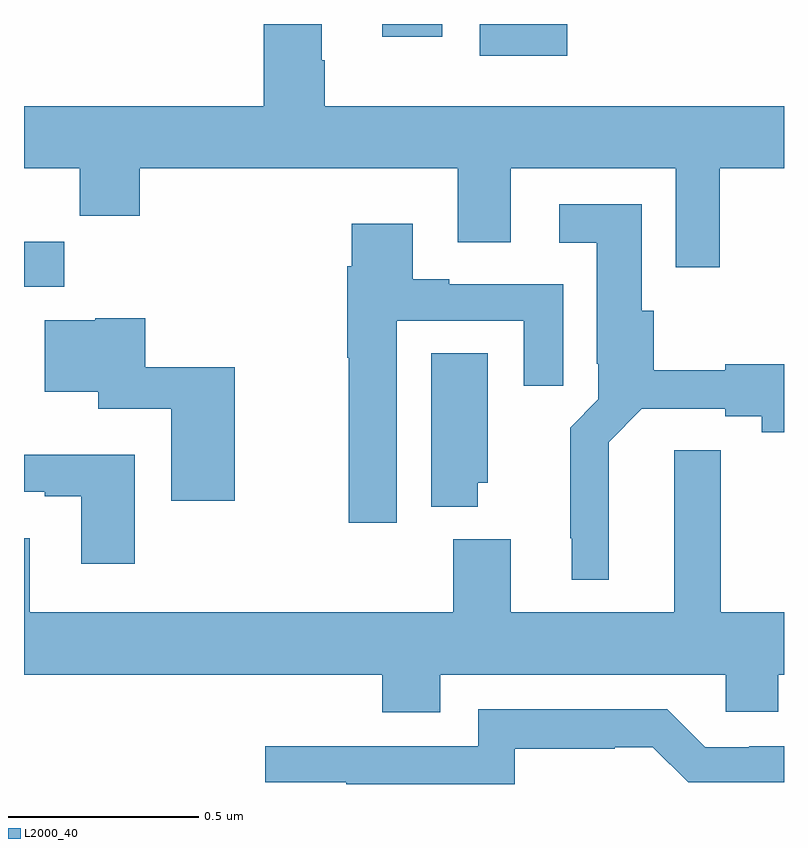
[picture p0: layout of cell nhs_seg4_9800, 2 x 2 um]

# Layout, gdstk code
import gdstk
lib = gdstk.Library(unit=1e-6, precision=1e-09)
def R(c, l, rs):  # rectangles x0, y0, x1, y1
    for r in rs: c.add(gdstk.rectangle(r[:2], r[2:], *l))
def P(c, l, *ps):  # polygons
    for p in ps: c.add(gdstk.Polygon(p, *l))
L2000_40 = (2000, 40)

nhs_seg4_9800 = lib.new_cell('nhs_seg4_9800')
R(nhs_seg4_9800, L2000_40, [(232,763.208,232.106,763.327), (233.199,763.817,233.429,763.9), (232.943,763.866,233.101,763.9)])
P(nhs_seg4_9800, L2000_40, [(233.831,763.52),(234,763.52),(234,763.684),(232.791,763.684),(232.791,763.805),(232.783,763.805),(232.783,763.9),(232.631,763.9),(232.631,763.684),(232,763.684),(232,763.52),(232.147,763.52),(232.147,763.396),(232.304,763.396),(232.304,763.52),(233.141,763.52),(233.141,763.326),(233.281,763.326),(233.281,763.52),(233.715,763.52),(233.715,763.26),(233.831,763.26)],
  [(233.539,762.8),(233.626,762.888),(233.846,762.888),(233.846,762.868),(233.942,762.868),(233.942,762.826),(234,762.826),(234,763.004),(233.846,763.004),(233.846,762.989),(233.657,762.989),(233.657,763.146),(233.626,763.146),(233.626,763.426),(233.409,763.426),(233.409,763.325),(233.507,763.325),(233.507,763.006),(233.511,763.006),(233.511,762.912),(233.437,762.838),(233.437,762.547),(233.441,762.547),(233.441,762.437),(233.539,762.437)],
  [(232.981,763.119),(233.315,763.119),(233.315,762.948),(233.419,762.948),(233.419,763.215),(233.119,763.215),(233.119,763.228),(233.023,763.228),(233.023,763.375),(232.862,763.375),(232.862,763.262),(232.85,763.262),(232.85,763.022),(232.855,763.022),(232.855,762.588),(232.981,762.588)],
  [(232.554,762.997),(232.319,762.997),(232.319,763.126),(232.188,763.126),(232.188,763.12),(232.055,763.12),(232.055,762.932),(232.196,762.932),(232.196,762.887),(232.388,762.887),(232.388,762.645),(232.554,762.645)],
  [(233.194,762.693),(233.221,762.693),(233.221,763.034),(233.072,763.034),(233.072,762.629),(233.194,762.629)],
  [(233.095,762.188),(233.847,762.188),(233.847,762.09),(233.985,762.09),(233.985,762.188),(234,762.188),(234,762.352),(233.834,762.352),(233.834,762.778),(233.711,762.778),(233.711,762.352),(233.281,762.352),(233.281,762.544),(233.129,762.544),(233.129,762.352),(232.015,762.352),(232.015,762.547),(232,762.547),(232,762.188),(232.943,762.188),(232.943,762.089),(233.095,762.089)],
  [(232.291,762.766),(232,762.766),(232,762.669),(232.055,762.669),(232.055,762.657),(232.151,762.657),(232.151,762.48),(232.291,762.48)],
  [(233.292,761.993),(233.555,761.993),(233.555,761.997),(233.655,761.997),(233.748,761.904),(234,761.904),(234,762),(233.909,762),(233.909,761.997),(233.793,761.997),(233.693,762.097),(233.196,762.097),(233.196,762),(232.635,762),(232.635,761.904),(232.848,761.904),(232.848,761.9),(233.292,761.9)])

lib.write_gds('nhs_seg4_9800.gds')
